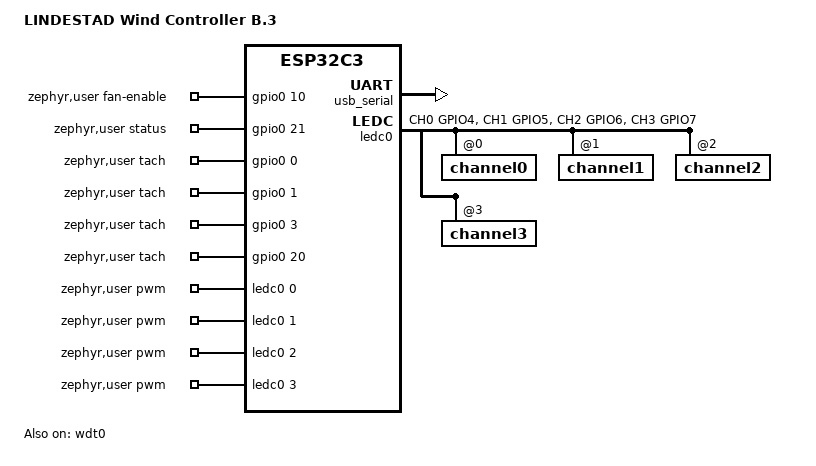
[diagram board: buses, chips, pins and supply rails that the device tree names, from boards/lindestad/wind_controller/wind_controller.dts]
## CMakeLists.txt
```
cmake_minimum_required(VERSION 3.20.0)
list(APPEND BOARD_ROOT ${CMAKE_CURRENT_SOURCE_DIR})
find_package(Zephyr REQUIRED HINTS $ENV{ZEPHYR_BASE})
project(wind_controller C)
target_sources(app PRIVATE src/main.c src/control.c src/output.c)
target_include_directories(app PRIVATE include)
target_compile_options(app PRIVATE -Wall -Wextra -Werror)
```

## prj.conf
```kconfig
CONFIG_GPIO=y
CONFIG_PWM=y
CONFIG_WATCHDOG=y
CONFIG_SERIAL=y
CONFIG_SERIAL_ESP32_USB=y
CONFIG_UART_INTERRUPT_DRIVEN=y
CONFIG_CONSOLE=n
CONFIG_UART_CONSOLE=n
CONFIG_PRINTK=n
CONFIG_LOG=n
CONFIG_BOOT_BANNER=n
CONFIG_WIFI=n
CONFIG_BT=n
CONFIG_NETWORKING=n
CONFIG_PM=n
CONFIG_PM_DEVICE=n
CONFIG_MAIN_STACK_SIZE=2048
CONFIG_ASSERT=y
CONFIG_REBOOT=y
```

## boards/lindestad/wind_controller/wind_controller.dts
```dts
/dts-v1/;
#include <espressif/esp32c3/esp32c3_wroom_n4.dtsi>
#include <espressif/partitions_0x0_default.dtsi>
#include <zephyr/dt-bindings/pinctrl/esp-pinctrl-common.h>
#include <zephyr/dt-bindings/pinctrl/esp32c3-pinctrl.h>
#include <zephyr/dt-bindings/pinctrl/esp32c3-gpio-sigmap.h>
#include <zephyr/dt-bindings/gpio/gpio.h>
#include <zephyr/dt-bindings/pwm/pwm.h>

/ {
    model = "LINDESTAD Wind Controller B.3";
    compatible = "lindestad,wind-controller";
    chosen {
        zephyr,sram = &sram1;
        zephyr,flash = &flash0;
        zephyr,code-partition = &slot0_partition;
    };
    zephyr,user {
        fan-enable-gpios = <&gpio0 10 GPIO_ACTIVE_HIGH>;
        status-gpios = <&gpio0 21 GPIO_ACTIVE_HIGH>;
        tach-gpios = <&gpio0 0 GPIO_ACTIVE_HIGH>, <&gpio0 1 GPIO_ACTIVE_HIGH>,
                     <&gpio0 3 GPIO_ACTIVE_HIGH>, <&gpio0 20 GPIO_ACTIVE_HIGH>;
        pwms = <&ledc0 0 PWM_NSEC(40000) PWM_POLARITY_NORMAL>,
               <&ledc0 1 PWM_NSEC(40000) PWM_POLARITY_NORMAL>,
               <&ledc0 2 PWM_NSEC(40000) PWM_POLARITY_NORMAL>,
               <&ledc0 3 PWM_NSEC(40000) PWM_POLARITY_NORMAL>;
    };
};
&uart0 { status = "disabled"; };
&uart1 { status = "disabled"; };
&wifi { status = "disabled"; };
&esp32_bt_hci { status = "disabled"; };
&usb_serial { status = "okay"; };
&wdt0 { status = "okay"; };
&pinctrl {
    wind_pwm: wind_pwm {
        group1 {
            pinmux = <LEDC_CH0_GPIO4>, <LEDC_CH1_GPIO5>,
                     <LEDC_CH2_GPIO6>, <LEDC_CH3_GPIO7>;
            output-enable;
        };
    };
};
&ledc0 {
    status = "okay";
    pinctrl-0 = <&wind_pwm>;
    pinctrl-names = "default";
    #address-cells = <1>;
    #size-cells = <0>;
    // Inverted sets the driver's initial stopped output high. Runtime calls
    // use NORMAL polarity and explicit gate duty: inversion occurs once.
    channel0@0 { reg = <0>; timer = <0>; inverted; };
    channel1@1 { reg = <1>; timer = <0>; inverted; };
    channel2@2 { reg = <2>; timer = <0>; inverted; };
    channel3@3 { reg = <3>; timer = <0>; inverted; };
};
```

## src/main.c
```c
#include "control.h"
#include <zephyr/kernel.h>
#include <zephyr/device.h>
#include <zephyr/drivers/gpio.h>
#include <zephyr/drivers/pwm.h>
#include <zephyr/drivers/uart.h>
#include <zephyr/drivers/watchdog.h>
#include <string.h>

#define USER DT_PATH(zephyr_user)
static const struct gpio_dt_spec enable = GPIO_DT_SPEC_GET(USER, fan_enable_gpios);
static const struct gpio_dt_spec status = GPIO_DT_SPEC_GET(USER, status_gpios);
static const struct gpio_dt_spec tach_pin[] = {
    GPIO_DT_SPEC_GET_BY_IDX(USER, tach_gpios, 0), GPIO_DT_SPEC_GET_BY_IDX(USER, tach_gpios, 1),
    GPIO_DT_SPEC_GET_BY_IDX(USER, tach_gpios, 2), GPIO_DT_SPEC_GET_BY_IDX(USER, tach_gpios, 3),
};
static const struct pwm_dt_spec pwm[] = {
    PWM_DT_SPEC_GET_BY_IDX(USER, 0), PWM_DT_SPEC_GET_BY_IDX(USER, 1),
    PWM_DT_SPEC_GET_BY_IDX(USER, 2), PWM_DT_SPEC_GET_BY_IDX(USER, 3),
};
static const struct device *const usb = DEVICE_DT_GET(DT_NODELABEL(usb_serial));
static const struct device *const watchdog = DEVICE_DT_GET(DT_NODELABEL(wdt0));
static struct gpio_callback tach_cb;
static volatile struct wind_tach tach[WIND_FANS];
static unsigned char status_frame[WIND_TELEMETRY_BYTES];
static unsigned status_sent, status_size;

static void status_irq(const struct device *dev, void *context)
{
    ARG_UNUSED(context);
    if (!uart_irq_update(dev) || !uart_irq_tx_ready(dev)) return;
    if (status_sent < status_size) {
        int sent = uart_fifo_fill(dev, status_frame + status_sent,
                                 (int)(status_size - status_sent));
        if (sent > 0) status_sent += (unsigned)sent;
    }
    if (status_sent == status_size) uart_irq_tx_disable(dev);
}

static void publish_status(const unsigned char *frame, unsigned size)
{
    // Keep at most one pending snapshot. Never wait for a host to read USB:
    // blocking poll_out can delay command expiry when USB is backpressured.
    unsigned key = irq_lock();
    if (status_sent == status_size) {
        memcpy(status_frame, frame, size);
        status_size = size;
        status_sent = 0;
        uart_irq_tx_enable(usb);
    }
    irq_unlock(key);
}

static void tach_edge(const struct device *dev, struct gpio_callback *cb, uint32_t pins)
{
    ARG_UNUSED(dev); ARG_UNUSED(cb);
    uint32_t now = k_uptime_get_32();
    for (unsigned i = 0; i < WIND_FANS; ++i) {
        if ((pins & BIT(tach_pin[i].pin)) &&
            (!tach[i].count || now - tach[i].last_ms >= 1U)) {
            tach[i].last_ms = now;
            tach[i].count++;
        }
    }
}

static int set_pwm(void *context, unsigned channel, uint32_t ns)
{
    ARG_UNUSED(context);
    return pwm_set_pulse_dt(&pwm[channel], ns);
}
static int set_enable(void *context, bool enabled)
{
    ARG_UNUSED(context);
    return gpio_pin_set_dt(&enable, enabled);
}
static const struct wind_io io = {.pwm = set_pwm, .enable = set_enable};

int main(void)
{
    struct wind_control state;
    wind_init(&state, k_uptime_get_32());
    if (!gpio_is_ready_dt(&enable) || gpio_pin_configure_dt(&enable, GPIO_OUTPUT_INACTIVE)) return 1;
    if (!device_is_ready(usb) || !device_is_ready(watchdog)) return 2;
    for (unsigned i = 0; i < WIND_FANS; ++i) if (!pwm_is_ready_dt(&pwm[i])) return 3;
    if (wind_apply(&state.output, &io)) return 4;
    if (uart_irq_callback_user_data_set(usb, status_irq, NULL)) return 12;
    if (!gpio_is_ready_dt(&status) || gpio_pin_configure_dt(&status, GPIO_OUTPUT_INACTIVE)) return 5;
    uint32_t mask = 0;
    for (unsigned i = 0; i < WIND_FANS; ++i) {
        if (!gpio_is_ready_dt(&tach_pin[i]) || gpio_pin_configure_dt(&tach_pin[i], GPIO_INPUT)) return 6;
        mask |= BIT(tach_pin[i].pin);
    }
    gpio_init_callback(&tach_cb, tach_edge, mask);
    if (gpio_add_callback(tach_pin[0].port, &tach_cb)) return 7;
    for (unsigned i = 0; i < WIND_FANS; ++i)
        if (gpio_pin_interrupt_configure_dt(&tach_pin[i], GPIO_INT_EDGE_FALLING)) return 8;
    // ESP32 driver has an interrupt stage followed by a system-reset stage.
    // 500 ms per stage: do not claim a 500 ms total watchdog reset latency.
    struct wdt_timeout_cfg timeout = {
        .window = {.min = 0, .max = 500}, .flags = WDT_FLAG_RESET_SOC,
    };
    int channel = wdt_install_timeout(watchdog, &timeout);
    if (channel < 0 || wdt_setup(watchdog, 0)) return 9;
    unsigned char byte;
    unsigned discarded = 0;
    while (discarded < 256U && !uart_poll_in(usb, &byte)) discarded++;
    if (discarded == 256U) wind_fault(&state, true);
    uint32_t last_status = k_uptime_get_32() - WIND_STATUS_MS;
    uint32_t last_rpm = k_uptime_get_32();
    uint32_t prior_count[WIND_FANS] = {0}, rpm[WIND_FANS] = {0};
    for (;;) {
        struct wind_tach snapshot[WIND_FANS];
        unsigned key = irq_lock();
        for (unsigned i = 0; i < WIND_FANS; ++i) snapshot[i] = tach[i];
        irq_unlock(key);
        uint32_t now = k_uptime_get_32();
        wind_tick(&state, now, snapshot);
        unsigned received = 0;
        while (received < 64U && !uart_poll_in(usb, &byte)) {
            wind_byte(&state, byte, k_uptime_get_32());
            received++;
        }
        if (received == 64U) wind_fault(&state, true);
        wind_tick(&state, k_uptime_get_32(), snapshot);
        if (wind_apply(&state.output, &io)) {
            (void)gpio_pin_set_dt(&enable, false);
            return 10; // no watchdog feed after an actuator failure
        }
        (void)gpio_pin_set_dt(&status, state.output.enable);
        now = k_uptime_get_32();
        if (now - last_status >= WIND_STATUS_MS) {
            unsigned char frame[WIND_TELEMETRY_BYTES];
            wind_status(&state, frame);
            unsigned size = WIND_STATUS_BYTES;
            if (now - last_rpm >= 1000U) {
                for (unsigned i = 0; i < WIND_FANS; ++i) {
                    rpm[i] = wind_rpm(snapshot[i].count - prior_count[i], now - last_rpm);
                    prior_count[i] = snapshot[i].count;
                }
                last_rpm = now;
                size += wind_telemetry(&state, rpm, now, frame + size,
                                       (unsigned)sizeof(frame) - size);
            }
            publish_status(frame, size);
            last_status = now;
        }
        if (wdt_feed(watchdog, channel)) {
            struct wind_output stopped = {0};
            (void)wind_apply(&stopped, &io);
            return 11;
        }
        k_msleep(5);
    }
}
```

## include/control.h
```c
#ifndef WIND_CONTROL_H
#define WIND_CONTROL_H
#include <stdbool.h>
#include <stdint.h>

#define WIND_FANS 4U
#define WIND_PERIOD_NS 40000U
#define WIND_TIMEOUT_MS 500U
#define WIND_FRAME_MS 100U
#define WIND_PRECHARGE_MS 750U
#define WIND_KICK_MS 250U
#define WIND_START_GAP_MS 500U
#define WIND_START_TIMEOUT_MS 2000U
#define WIND_STALL_MS 2000U
#define WIND_MIN_DEMAND 50U
#define WIND_FRAME_MAX 11U
#define WIND_STATUS_BYTES 8U
#define WIND_STATUS_MS 500U
#define WIND_TELEMETRY_BYTES 128U

enum wind_mode { WIND_OFF, WIND_PRECHARGE, WIND_ACTIVE, WIND_STALE, WIND_FAULT };
struct wind_tach { uint32_t count, last_ms; };
struct wind_output { bool enable; uint16_t demand[WIND_FANS]; };
struct wind_control {
    enum wind_mode mode;
    struct wind_output output;
    uint16_t target[WIND_FANS];
    bool ready[WIND_FANS], discard, hard_fault;
    uint8_t no_tach_mask;
    uint32_t tach_baseline[WIND_FANS];
    int starting;
    uint32_t last_valid, power_started, fan_started, start_count;
    uint32_t partial_started, accepted, rejected;
    unsigned used;
    unsigned char frame[WIND_FRAME_MAX];
};
void wind_init(struct wind_control *s, uint32_t now);
void wind_tick(struct wind_control *s, uint32_t now, const struct wind_tach tach[WIND_FANS]);
void wind_byte(struct wind_control *s, unsigned char byte, uint32_t now);
void wind_fault(struct wind_control *s, bool hard);
uint32_t wind_gate_ns(uint16_t demand);
void wind_status(const struct wind_control *s, unsigned char out[WIND_STATUS_BYTES]);
uint32_t wind_rpm(uint32_t edges, uint32_t elapsed_ms);
unsigned wind_telemetry(const struct wind_control *s, const uint32_t rpm[WIND_FANS],
                        uint32_t now, unsigned char *out, unsigned capacity);

struct wind_io {
    void *context;
    int (*pwm)(void *context, unsigned channel, uint32_t gate_ns);
    int (*enable)(void *context, bool enabled);
};
int wind_apply(const struct wind_output *out, const struct wind_io *io);
#endif
```

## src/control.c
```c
#include "control.h"
#include <string.h>
#include <stdio.h>

static uint32_t age(uint32_t now, uint32_t then) { return now - then; }

static void stop(struct wind_control *s, enum wind_mode mode)
{
    memset(&s->output, 0, sizeof(s->output));
    memset(s->target, 0, sizeof(s->target));
    memset(s->ready, 0, sizeof(s->ready));
    s->no_tach_mask = 0;
    s->starting = -1;
    s->mode = mode;
}

static void expire(struct wind_control *s, uint32_t now)
{
    if (s->used && age(now, s->partial_started) >= WIND_FRAME_MS) {
        s->used = 0;
        s->discard = true;
        s->rejected++;
    }
    if (s->output.enable && age(now, s->last_valid) >= WIND_TIMEOUT_MS) {
        stop(s, WIND_STALE);
        if (s->used) { s->used = 0; s->discard = true; }
    }
}

void wind_init(struct wind_control *s, uint32_t now)
{
    memset(s, 0, sizeof(*s));
    s->last_valid = now;
    stop(s, WIND_OFF);
}

void wind_fault(struct wind_control *s, bool hard)
{
    stop(s, WIND_FAULT);
    s->hard_fault |= hard;
    if (s->used) s->discard = true;
    s->used = 0;
}

static bool number(const unsigned char *p, unsigned length, unsigned *at, uint16_t *out)
{
    unsigned value = 0, digits = 0;
    while (*at < length && p[*at] >= '0' && p[*at] <= '9') {
        if (++digits > 4) return false;
        value = value * 10U + p[(*at)++] - '0';
        if (value > 1000U) return false;
    }
    *out = (uint16_t)value;
    return digits != 0;
}

static void command(struct wind_control *s, uint16_t left, uint16_t right, uint32_t now)
{
    if (s->mode == WIND_FAULT) {
        // Only an exact zero command acknowledges a recoverable fault.
        if (s->hard_fault || left || right) { s->rejected++; return; }
        stop(s, WIND_OFF);
    }
    s->accepted++;
    s->last_valid = now;
    left = left < WIND_MIN_DEMAND ? 0 : left;
    right = right < WIND_MIN_DEMAND ? 0 : right;
    if (!left && !right) { stop(s, WIND_OFF); return; }
    if (!s->output.enable) {
        stop(s, WIND_PRECHARGE);
        s->power_started = now;
        s->output.enable = true;
    }
    for (unsigned i = 0; i < WIND_FANS; ++i) {
        s->target[i] = i < 2 ? left : right;
        if (!s->target[i]) {
            s->ready[i] = false;
            s->no_tach_mask &= (uint8_t)~(1U << i);
            s->output.demand[i] = 0;
            if (s->starting == (int)i) s->starting = -1;
        }
    }
}

void wind_byte(struct wind_control *s, unsigned char byte, uint32_t now)
{
    expire(s, now);
    if (s->discard) { if (byte == '\n') s->discard = false; return; }
    if (byte != '\n') {
        if (s->used == WIND_FRAME_MAX) {
            s->rejected++;
            s->used = 0;
            s->discard = true;
        } else {
            if (!s->used) s->partial_started = now;
            s->frame[s->used++] = byte;
        }
        return;
    }
    uint16_t left = 0, right = 0;
    unsigned at = 2;
    bool valid = s->used >= 5 && s->frame[0] == 'W' && s->frame[1] == ',' &&
                 number(s->frame, s->used, &at, &left) && at < s->used &&
                 s->frame[at++] == ',' && number(s->frame, s->used, &at, &right) &&
                 at == s->used;
    s->used = 0;
    if (valid) command(s, left, right, now); else s->rejected++;
}

void wind_tick(struct wind_control *s, uint32_t now, const struct wind_tach tach[WIND_FANS])
{
    expire(s, now);
    if (!s->output.enable) return;
    if (s->mode == WIND_PRECHARGE) {
        if (age(now, s->power_started) < WIND_PRECHARGE_MS) return;
        s->mode = WIND_ACTIVE;
    }
    for (unsigned i = 0; i < WIND_FANS; ++i) {
        if (s->ready[i]) {
            uint8_t bit = (uint8_t)(1U << i);
            if (tach[i].count - s->tach_baseline[i] < 3U ||
                age(now, tach[i].last_ms) >= WIND_STALL_MS) {
                // Missing, stalled and disconnected tach look the same. Warn
                // without interrupting airflow; require three NEW edges to clear.
                if (!(s->no_tach_mask & bit)) s->tach_baseline[i] = tach[i].count;
                s->no_tach_mask |= bit;
            } else {
                s->no_tach_mask &= (uint8_t)~bit;
            }
            s->output.demand[i] = s->target[i];
        }
    }
    if (s->starting >= 0) {
        unsigned i = (unsigned)s->starting;
        uint32_t elapsed = age(now, s->fan_started);
        s->output.demand[i] = elapsed < WIND_KICK_MS ? 1000U : s->target[i];
        // Three filtered edges establish two intervals. Old edges cannot
        // qualify startup because the baseline is sampled when the kick starts.
        bool confirmed = elapsed >= WIND_START_GAP_MS &&
                         tach[i].count - s->start_count >= 3U &&
                         age(now, tach[i].last_ms) < WIND_START_GAP_MS;
        if (!confirmed && elapsed < WIND_START_TIMEOUT_MS) return;
        if (!confirmed) {
            s->no_tach_mask |= (uint8_t)(1U << i);
            s->tach_baseline[i] = tach[i].count;
        }
        // 'ready' means the startup attempt is complete, even without tach.
        s->ready[i] = true;
        s->starting = -1;
    }
    for (unsigned i = 0; i < WIND_FANS; ++i) {
        if (s->target[i] && !s->ready[i]) {
            s->starting = (int)i;
            s->fan_started = now;
            s->start_count = tach[i].count;
            s->tach_baseline[i] = tach[i].count;
            s->output.demand[i] = 1000U;
            return;
        }
    }
}

void wind_status(const struct wind_control *s, unsigned char out[WIND_STATUS_BYTES])
{
    // Versioned, fixed-size ASCII snapshot, one hexadecimal warning-mask digit.
    static const unsigned char hex[] = "0123456789ABCDEF";
    memcpy(out, "S,1,0,0\n", WIND_STATUS_BYTES);
    out[4] = (unsigned char)('0' + s->mode);
    out[6] = hex[s->no_tach_mask & 15U];
}

uint32_t wind_gate_ns(uint16_t demand)
{
    if (demand > 1000U) return WIND_PERIOD_NS; // invalid output fails stopped
    return (1000U - demand) * (WIND_PERIOD_NS / 1000U);
}

uint32_t wind_rpm(uint32_t edges, uint32_t elapsed_ms)
{
    // Two tach pulses per revolution; estimate from a one-second edge window.
    if (!elapsed_ms) return 0;
    uint64_t rpm = (uint64_t)edges * 30000U / elapsed_ms;
    return rpm > 30000U ? 30000U : (uint32_t)rpm;
}

unsigned wind_telemetry(const struct wind_control *s, const uint32_t rpm[WIND_FANS],
                        uint32_t now, unsigned char *out, unsigned capacity)
{
    int size = snprintf((char *)out, capacity,
        "T,2,%u,%X,%lu,%lu,%lu,%lu,%lu,%lu,%lu,%u,%u,%u,%u\n",
        (unsigned)s->mode, (unsigned)s->no_tach_mask,
        (unsigned long)now, (unsigned long)s->accepted, (unsigned long)s->rejected,
        (unsigned long)rpm[0], (unsigned long)rpm[1],
        (unsigned long)rpm[2], (unsigned long)rpm[3],
        (unsigned)s->output.demand[0], (unsigned)s->output.demand[1],
        (unsigned)s->output.demand[2], (unsigned)s->output.demand[3]);
    return size > 0 && (unsigned)size < capacity ? (unsigned)size : 0U;
}
```

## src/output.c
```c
#include "control.h"

int wind_apply(const struct wind_output *out, const struct wind_io *io)
{
    int error = 0;
    // PWM stop must reach all fan inputs before power is disabled. On any
    // write failure disable the eFuse immediately, then try remaining stops.
    for (unsigned i = 0; i < WIND_FANS; ++i) {
        uint16_t demand = out->enable ? out->demand[i] : 0U;
        int rc = io->pwm(io->context, i, wind_gate_ns(demand));
        if (rc && !error) { error = rc; (void)io->enable(io->context, false); }
    }
    int rc = io->enable(io->context, !error && out->enable);
    return error ? error : rc;
}
```
